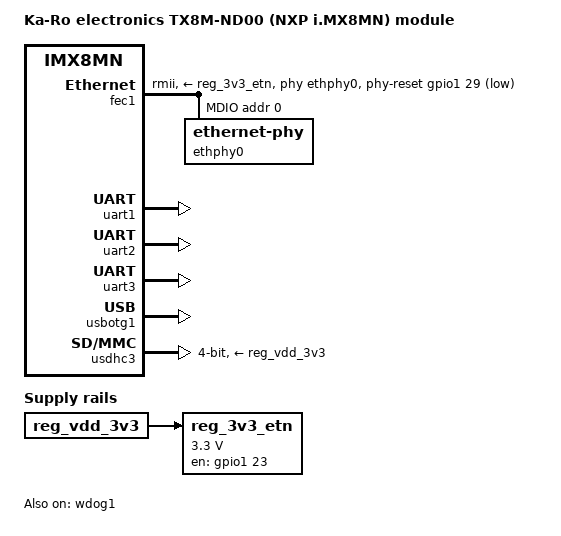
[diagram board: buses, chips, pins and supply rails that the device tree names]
// SPDX-License-Identifier: (GPL-2.0 OR MIT)
/*
 * Copyright (C) 2019 Lothar Waßmann <LW@KARO-electronics.de>
 *
 */

/dts-v1/;

#include "imx8mn-karo.dtsi"
#include "imx8m-karo-pmic-bd71847.dtsi"

/ {
	model = "Ka-Ro electronics TX8M-ND00 (NXP i.MX8MN) module";
	compatible = "karo,imx8mn-tx8m", "fsl,imx8mn";

	reg_3v3_etn: regulator-3v3-etn {
		compatible = "regulator-fixed";
		regulator-name = "3v3_etn";
		regulator-min-microvolt = <3300000>;
		regulator-max-microvolt = <3300000>;
		pinctrl-names = "default";
		pinctrl-0 = <&pinctrl_etnphy_power>;
		gpio = <&gpio1 23 GPIO_ACTIVE_HIGH>;
		enable-active-high;
		vin-supply = <&reg_vdd_3v3>;
	};
};

&A53_0 {
	cpu-supply = <&reg_vdd_arm>;
};

&fec1 {
	pinctrl-names = "default";
	pinctrl-0 = <&pinctrl_fec1 &pinctrl_etnphy_rst>;
	assigned-clock-parents = <
		&clk IMX8MN_SYS_PLL1_266M
		&clk IMX8MN_SYS_PLL2_100M
		&clk IMX8MN_SYS_PLL2_50M
		&clk IMX8MN_SYS_PLL2_50M
	>;
	assigned-clock-rates = <0>, <100000000>, <50000000>, <50000000>;
	phy-mode = "rmii";
	phy-handle = <&ethphy0>;
	phy-supply = <&reg_3v3_etn>;
	phy-reset-gpios = <&gpio1 29 GPIO_ACTIVE_LOW>;
	phy-reset-duration = <25>; /* ms */
	phy-reset-post-delay = <100>;
	status = "okay";

	mdio {
		#address-cells = <1>;
		#size-cells = <0>;

		ethphy0: ethernet-phy@0 {
			reg = <0>;
			smsc,disable-energy-detect;
		};
	};
};

&uart1 { /* console */
	pinctrl-names = "default";
	pinctrl-0 = <&pinctrl_uart1 &pinctrl_uart1_rtscts>;
	uart-has-rtscts;
	status = "okay";
};

&uart2 {
	pinctrl-names = "default";
	pinctrl-0 = <&pinctrl_uart2 &pinctrl_uart2_rtscts>;
	uart-has-rtscts;
	status = "okay";
};

&uart3 {
	pinctrl-names = "default";
	pinctrl-0 = <&pinctrl_uart3 &pinctrl_uart3_rtscts>;
	uart-has-rtscts;
	status = "okay";
};

&usbotg1 {
	status = "okay";
};

&usdhc3 {
	pinctrl-names = "default";
	pinctrl-0 = <&pinctrl_usdhc3>;
	bus-width = <4>;
	vmmc-supply = <&reg_vdd_3v3>;
	vqmmc-supply = <&reg_vdd_3v3>;
	no-1-8-v;
	fsl,wp-controller;
};

&wdog1 {
	status = "okay";
};

&iomuxc {
	pinctrl_etnphy_power: etnphy-powergrp {
		fsl,pins = <
			MX8MN_IOMUXC_ENET_TXC_GPIO1_IO23		0x142
		>;
	};

	pinctrl_etnphy_rst: etnphy-rstgrp {
		fsl,pins = <
			MX8MN_IOMUXC_ENET_RD3_GPIO1_IO29		0x140
		>;
	};

	pinctrl_fec1: fec1grp {
		fsl,pins = <
			MX8MN_IOMUXC_ENET_MDC_ENET1_MDC			0x142
			MX8MN_IOMUXC_ENET_MDIO_ENET1_MDIO		0x142
			MX8MN_IOMUXC_ENET_TD2_ENET1_TX_CLK		0x40000016
			MX8MN_IOMUXC_ENET_TD0_ENET1_RGMII_TD0		0x16
			MX8MN_IOMUXC_ENET_TD1_ENET1_RGMII_TD1		0x16
			MX8MN_IOMUXC_ENET_TX_CTL_ENET1_RGMII_TX_CTL	0x16
			/* SMSC LAN8710 Strap pins */
			MX8MN_IOMUXC_ENET_RD0_ENET1_RGMII_RD0		0x150 /* MODE0 */
			MX8MN_IOMUXC_ENET_RD1_ENET1_RGMII_RD1		0x150 /* MODE1 */
			MX8MN_IOMUXC_ENET_RX_CTL_ENET1_RGMII_RX_CTL	0x150 /* MODE2 */
			MX8MN_IOMUXC_ENET_RXC_ENET1_RX_ER		0x116 /* PHYAD0 */
		>;
	};

	pinctrl_usdhc3: usdhc3grp {
		fsl,pins = <
			MX8MN_IOMUXC_NAND_WE_B_USDHC3_CLK		0x016
			MX8MN_IOMUXC_NAND_WP_B_USDHC3_CMD		0x156
			MX8MN_IOMUXC_NAND_DATA04_USDHC3_DATA0		0x156
			MX8MN_IOMUXC_NAND_DATA05_USDHC3_DATA1		0x156
			MX8MN_IOMUXC_NAND_DATA06_USDHC3_DATA2		0x156
			MX8MN_IOMUXC_NAND_DATA07_USDHC3_DATA3		0x156
		>;
	};

	pinctrl_usdhc3_cd: usdhc3-cdgrp {
		fsl,pins = <
			MX8MN_IOMUXC_NAND_DATA02_GPIO3_IO8		0x1c0
		>;
	};
};
